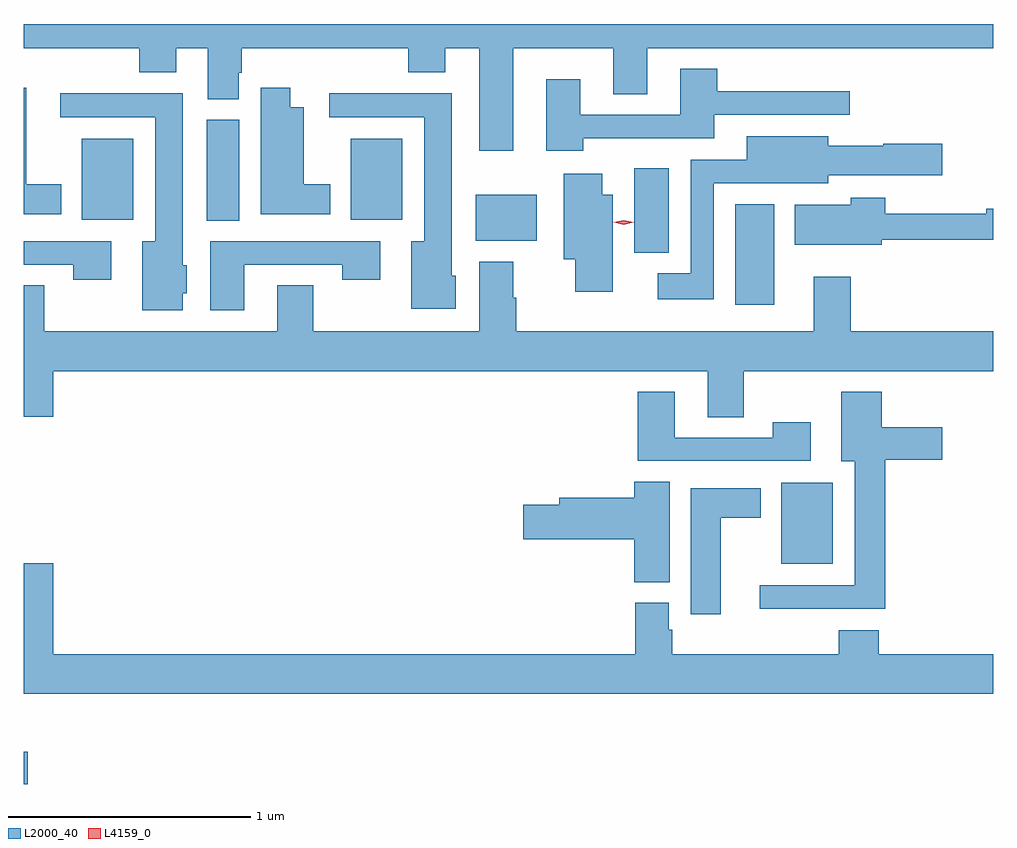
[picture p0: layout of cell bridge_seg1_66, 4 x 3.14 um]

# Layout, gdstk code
import gdstk
lib = gdstk.Library(unit=1e-6, precision=1e-09)
def R(c, l, rs):  # rectangles x0, y0, x1, y1
    for r in rs: c.add(gdstk.rectangle(r[:2], r[2:], *l))
def P(c, l, *ps):  # polygons
    for p in ps: c.add(gdstk.Polygon(p, *l))
L2000_40 = (2000, 40)
L4159_0 = (4159, 0)

bridge_seg1_66 = lib.new_cell('bridge_seg1_66')
R(bridge_seg1_66, L2000_40, [(500.715,580.664,500.731,580.798), (503.84,581.573,504.052,581.908), (503.651,582.642,503.812,583.057), (503.234,582.857,503.377,583.204), (502.58,582.905,502.831,583.096), (501.47,582.988,501.604,583.404), (500.954,582.992,501.166,583.327), (502.064,582.992,502.276,583.327)])
P(bridge_seg1_66, L2000_40, [(500.715,583.7),(501.191,583.7),(501.191,583.601),(501.343,583.601),(501.343,583.7),(501.473,583.7),(501.473,583.489),(501.601,583.489),(501.601,583.599),(501.614,583.599),(501.614,583.7),(502.301,583.7),(502.301,583.601),(502.453,583.601),(502.453,583.7),(502.595,583.7),(502.595,583.278),(502.735,583.278),(502.735,583.7),(503.147,583.7),(503.147,583.51),(503.287,583.51),(503.287,583.7),(504.715,583.7),(504.715,583.8),(500.715,583.8)],
  [(503.024,583.329),(503.563,583.329),(503.563,583.425),(504.124,583.425),(504.124,583.522),(503.576,583.522),(503.576,583.615),(503.423,583.615),(503.423,583.425),(503.011,583.425),(503.011,583.573),(502.871,583.573),(502.871,583.278),(503.024,583.278)],
  [(501.979,583.138),(501.871,583.138),(501.871,583.456),(501.814,583.456),(501.814,583.537),(501.692,583.537),(501.692,583.016),(501.979,583.016)],
  [(500.869,583.138),(500.725,583.138),(500.725,583.537),(500.715,583.537),(500.715,583.016),(500.869,583.016)],
  [(501.37,582.69),(501.388,582.69),(501.388,582.804),(501.37,582.804),(501.37,583.514),(500.865,583.514),(500.865,583.416),(501.257,583.416),(501.257,582.904),(501.203,582.904),(501.203,582.618),(501.37,582.618)],
  [(502.498,582.762),(502.48,582.762),(502.48,583.514),(501.975,583.514),(501.975,583.416),(502.367,583.416),(502.367,582.904),(502.313,582.904),(502.313,582.626),(502.498,582.626)],
  [(503.562,583.143),(503.808,583.143),(503.808,583.142),(504.034,583.142),(504.034,583.175),(504.505,583.175),(504.505,583.305),(504.261,583.305),(504.261,583.297),(504.034,583.297),(504.034,583.336),(503.699,583.336),(503.699,583.239),(503.466,583.239),(503.466,582.772),(503.331,582.772),(503.331,582.665),(503.562,582.665)],
  [(503.146,583.096),(503.101,583.096),(503.101,583.183),(502.943,583.183),(502.943,582.83),(502.991,582.83),(502.991,582.696),(503.146,582.696)],
  [(504.256,582.909),(504.715,582.909),(504.715,583.037),(504.686,583.037),(504.686,583.018),(504.269,583.018),(504.269,583.084),(504.127,583.084),(504.127,583.054),(503.897,583.054),(503.897,582.89),(504.256,582.89)],
  [(501.076,582.903),(500.715,582.903),(500.715,582.807),(500.92,582.807),(500.92,582.744),(501.076,582.744)],
  [(501.625,582.807),(502.03,582.807),(502.03,582.744),(502.186,582.744),(502.186,582.903),(501.485,582.903),(501.485,582.618),(501.625,582.618)],
  [(503.685,582.368),(504.715,582.368),(504.715,582.532),(504.128,582.532),(504.128,582.757),(503.975,582.757),(503.975,582.532),(502.748,582.532),(502.748,582.671),(502.735,582.671),(502.735,582.82),(502.595,582.82),(502.595,582.532),(501.909,582.532),(501.909,582.722),(501.761,582.722),(501.761,582.532),(500.799,582.532),(500.799,582.722),(500.715,582.722),(500.715,582.18),(500.836,582.18),(500.836,582.368),(503.537,582.368),(503.537,582.178),(503.685,582.178)],
  [(504.269,582.002),(504.505,582.002),(504.505,582.136),(504.256,582.136),(504.256,582.283),(504.089,582.283),(504.089,581.996),(504.143,581.996),(504.143,581.484),(503.751,581.484),(503.751,581.387),(504.269,581.387)],
  [(503.962,582.157),(503.806,582.157),(503.806,582.093),(503.401,582.093),(503.401,582.283),(503.249,582.283),(503.249,581.997),(503.962,581.997)],
  [(503.38,581.912),(503.234,581.912),(503.234,581.846),(502.925,581.846),(502.925,581.816),(502.776,581.816),(502.776,581.674),(503.234,581.674),(503.234,581.497),(503.38,581.497)],
  [(503.59,581.762),(503.755,581.762),(503.755,581.884),(503.468,581.884),(503.468,581.364),(503.59,581.364)],
  [(504.715,581.2),(504.242,581.2),(504.242,581.299),(504.077,581.299),(504.077,581.2),(503.39,581.2),(503.39,581.301),(503.377,581.301),(503.377,581.412),(503.237,581.412),(503.237,581.2),(500.836,581.2),(500.836,581.575),(500.715,581.575),(500.715,581.036),(504.715,581.036)])
P(bridge_seg1_66, L4159_0, [(503.191,582.971),(503.15,582.981),(503.15,582.981),(503.15,582.981),(503.191,582.991),(503.232,582.982),(503.232,582.982),(503.232,582.982)])

lib.write_gds('bridge_seg1_66.gds')
